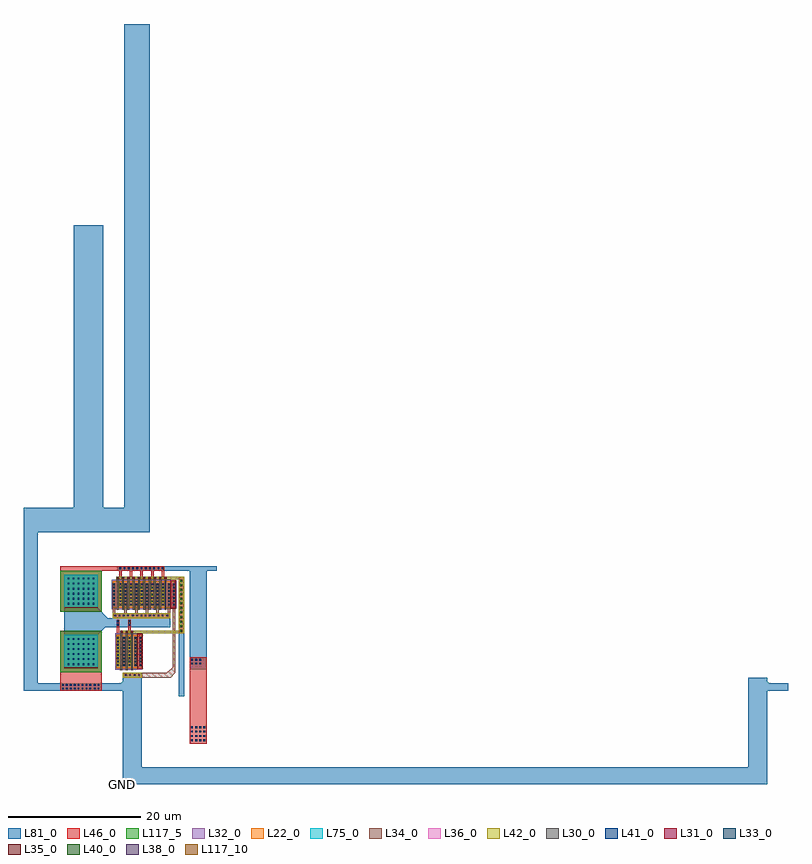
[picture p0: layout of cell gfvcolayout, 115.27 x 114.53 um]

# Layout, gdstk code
import gdstk
lib = gdstk.Library(unit=1e-6, precision=1e-09)
def R(c, l, rs):  # rectangles x0, y0, x1, y1
    for r in rs: c.add(gdstk.rectangle(r[:2], r[2:], *l))
def A(c, l, x, y, w, h, nx, ny, dx, dy):  # array of equal rectangles
    R(c, l, [(x+i*dx, y+j*dy, x+i*dx+w, y+j*dy+h) for i in range(nx) for j in range(ny)])
def P(c, l, *ps):  # polygons
    for p in ps: c.add(gdstk.Polygon(p, *l))
L22_0 = (22, 0)
L30_0 = (30, 0)
L31_0 = (31, 0)
L32_0 = (32, 0)
L33_0 = (33, 0)
L34_0 = (34, 0)
L35_0 = (35, 0)
L36_0 = (36, 0)
L38_0 = (38, 0)
L40_0 = (40, 0)
L41_0 = (41, 0)
L42_0 = (42, 0)
L46_0 = (46, 0)
L75_0 = (75, 0)
L81_0 = (81, 0)
L117_5 = (117, 5)
L117_10 = (117, 10)

nfet = lib.new_cell('nfet')
R(nfet, L22_0, [(-0.42,0,0,4), (0,0,7.86,4), (7.86,0,8.28,4), (8.28,0,8.99,4)])
A(nfet, L30_0, 0.19, -0.3, 0.28, 4.6, 10, 1, 0.8, 0)
A(nfet, L30_0, 0.15, 4.3, 0.36, 0.36, 10, 1, 0.8, 0)
R(nfet, L31_0, [(8.28,-0.17,9.16,4.17)])
R(nfet, L32_0, [(-0.59,-0.24,8.28,4.24)])
A(nfet, L33_0, -0.32, 0.36, 0.22, 0.22, 1, 7, 0, 0.51)
A(nfet, L33_0, 0.62, 0.36, 0.22, 0.22, 9, 7, 0.8, 0.51)
A(nfet, L33_0, 7.96, 0.36, 0.22, 0.22, 1, 7, 0, 0.51)
A(nfet, L33_0, 8.67, 0.36, 0.22, 0.22, 1, 7, 0, 0.51)
A(nfet, L33_0, 0.22, 4.37, 0.22, 0.22, 10, 1, 0.8, 0)
A(nfet, L34_0, 0.54, 0.28, 0.38, 3.44, 9, 1, 0.8, 0)
A(nfet, L34_0, 0.14, 4.29, 0.38, 0.38, 10, 1, 0.8, 0)
R(nfet, L34_0, [(-0.4,0.28,-0.02,3.72), (7.88,0.28,8.26,3.72), (8.59,0.28,8.97,3.72)])

nfet_1 = lib.new_cell('nfet$1')
R(nfet_1, L22_0, [(-0.42,0,0,5), (0,0,2.26,5), (2.26,0,2.68,5), (2.68,0,3.39,5)])
A(nfet_1, L30_0, 0.19, -0.3, 0.28, 5.6, 3, 1, 0.8, 0)
A(nfet_1, L30_0, 0.15, 5.3, 0.36, 0.36, 3, 1, 0.8, 0)
R(nfet_1, L31_0, [(2.68,-0.17,3.56,5.17)])
R(nfet_1, L32_0, [(-0.59,-0.24,2.68,5.24)])
A(nfet_1, L33_0, -0.32, 0.35, 0.22, 0.22, 1, 9, 0, 0.51)
A(nfet_1, L33_0, 0.62, 0.35, 0.22, 0.22, 1, 9, 0, 0.51)
A(nfet_1, L33_0, 1.42, 0.35, 0.22, 0.22, 1, 9, 0, 0.51)
A(nfet_1, L33_0, 2.36, 0.35, 0.22, 0.22, 1, 9, 0, 0.51)
A(nfet_1, L33_0, 3.07, 0.35, 0.22, 0.22, 1, 9, 0, 0.51)
A(nfet_1, L33_0, 0.22, 5.37, 0.22, 0.22, 3, 1, 0.8, 0)
A(nfet_1, L34_0, 0.14, 5.29, 0.38, 0.38, 3, 1, 0.8, 0)
R(nfet_1, L34_0, [(-0.4,0.27,-0.02,4.73), (0.54,0.27,0.92,4.73), (1.34,0.27,1.72,4.73), (2.28,0.27,2.66,4.73), (2.99,0.27,3.37,4.73)])

cap_mim = lib.new_cell('cap_mim')
A(cap_mim, L41_0, 0.47, 0.47, 0.26, 0.26, 6, 6, 0.76, 0.76)
R(cap_mim, L46_0, [(-0.6,-0.6,5.6,5.6)])
R(cap_mim, L75_0, [(0,0,5,5)])
R(cap_mim, L81_0, [(0,0,5,5)])
R(cap_mim, L117_5, [(-0.6,-0.6,5.6,5.6)])
R(cap_mim, L117_10, [(0,0,5,0.1)])

gfvcolayout = lib.new_cell('gfvcolayout')
R(gfvcolayout, L34_0, [(157.49,2.59,159.47,2.97), (156.94,10.69,164.52,11.07)])
P(gfvcolayout, L34_0, [(156.4,4.85),(156.4,6.68),(156.78,6.68),(156.78,5.57),(158.14,5.57),(158.14,6.68),(158.52,6.68),(158.52,5.57),(159.74,5.57),(159.74,6.68),(160.12,6.68),(160.12,5.57),(161.34,5.57),(161.34,6.68),(161.72,6.68),(161.72,5.57),(162.94,5.57),(162.94,6.68),(163.32,6.68),(163.32,5.57),(164.68,5.57),(164.68,6.68),(165.06,6.68),(165.06,4.85)],
  [(160.72,-4.115),(160.72,-3.395),(164.54,-3.395),(165.39,-2.545),(165.39,6.68),(165.77,6.68),(165.77,-3.43),(165.085,-4.115)])
A(gfvcolayout, L35_0, 157.01, -2.37, 0.26, 0.26, 1, 5, 0, 1.02)
A(gfvcolayout, L35_0, 158.75, -2.37, 0.26, 0.26, 1, 5, 0, 1.02)
A(gfvcolayout, L35_0, 157.55, 2.65, 0.26, 0.26, 3, 1, 0.8, 0)
A(gfvcolayout, L35_0, 157.4, 6.74, 0.26, 0.26, 5, 4, 1.6, 1.02)
A(gfvcolayout, L35_0, 157.42, 6.76, 0.22, 0.22, 5, 4, 1.6, 1.02)
R(gfvcolayout, L35_0, [(158.215,-3.865,158.475,-3.605), (158.845,-3.865,159.105,-3.605), (159.555,-3.865,159.815,-3.605), (160.185,-3.865,160.445,-3.605), (156.62,5.1,156.88,5.36), (157.25,5.1,157.51,5.36), (157.92,5.1,158.18,5.36), (158.55,5.1,158.81,5.36), (159.26,5.1,159.52,5.36), (159.89,5.1,160.15,5.36), (160.56,5.1,160.82,5.36), (161.19,5.1,161.45,5.36), (161.825,5.1,162.085,5.36), (162.455,5.1,162.715,5.36), (163.125,5.1,163.385,5.36), (163.755,5.1,164.015,5.36), (164.465,5.1,164.725,5.36), (157,10.75,157.26,11.01), (157,10.75,157.26,11.01), (157.8,10.75,158.06,11.01), (157.8,10.75,158.06,11.01), (158.6,10.75,158.86,11.01), (158.6,10.75,158.86,11.01), (159.4,10.75,159.66,11.01), (159.4,10.75,159.66,11.01), (160.2,10.75,160.46,11.01), (160.2,10.75,160.46,11.01), (161,10.75,161.26,11.01), (161,10.75,161.26,11.01), (161.8,10.75,162.06,11.01), (161.8,10.75,162.06,11.01), (162.6,10.75,162.86,11.01), (162.6,10.75,162.86,11.01), (163.4,10.75,163.66,11.01), (163.4,10.75,163.66,11.01), (164.2,10.75,164.46,11.01), (164.2,10.75,164.46,11.01)])
A(gfvcolayout, L36_0, 158.92, 10.69, 0.42, 0.38, 3, 1, 2.4, 0)
R(gfvcolayout, L36_0, [(157.89,-4.115,160.72,-3.395), (157.89,-4.115,160.72,-3.845), (156.95,-2.43,157.33,2.03), (158.69,-2.43,159.07,2.03), (157.49,2.59,159.47,2.97), (156.4,4.85,165.06,5.57), (157.34,6.68,157.72,10.12), (157.34,6.68,157.72,10.12), (157.34,6.68,157.72,10.12), (158.94,6.68,159.32,10.12), (158.94,6.68,159.32,10.12), (158.94,6.68,159.32,10.12), (160.54,6.68,160.92,10.12), (160.54,6.68,160.92,10.12), (160.54,6.68,160.92,10.12), (162.14,6.68,162.52,10.12), (162.14,6.68,162.52,10.12), (162.14,6.68,162.52,10.12), (163.74,6.68,164.12,10.12), (163.74,6.68,164.12,10.12), (163.74,6.68,164.12,10.12), (156.94,10.69,158.92,11.07), (156.94,10.69,158.92,11.07), (159.34,10.69,161.32,11.07), (159.34,10.69,161.32,11.07), (161.74,10.69,163.72,11.07), (161.74,10.69,163.72,11.07), (164.14,10.69,164.52,11.07), (164.14,10.69,164.52,11.07)])
A(gfvcolayout, L38_0, 157.01, -2.37, 0.26, 0.26, 1, 5, 0, 1.02)
A(gfvcolayout, L38_0, 158.75, -2.37, 0.26, 0.26, 1, 5, 0, 1.02)
A(gfvcolayout, L38_0, 157.4, 6.74, 0.26, 0.26, 5, 4, 1.6, 1.02)
A(gfvcolayout, L38_0, 157.42, 6.76, 0.22, 0.22, 5, 4, 1.6, 1.02)
R(gfvcolayout, L38_0, [(158.215,-3.865,158.475,-3.605), (158.845,-3.865,159.105,-3.605), (159.555,-3.865,159.815,-3.605), (160.185,-3.865,160.445,-3.605), (156.62,5.1,156.88,5.36), (157.25,5.1,157.51,5.36), (157.92,5.1,158.18,5.36), (158.55,5.1,158.81,5.36), (159.26,5.1,159.52,5.36), (159.89,5.1,160.15,5.36), (160.56,5.1,160.82,5.36), (161.19,5.1,161.45,5.36), (161.825,5.1,162.085,5.36), (162.455,5.1,162.715,5.36), (163.125,5.1,163.385,5.36), (163.755,5.1,164.015,5.36), (164.465,5.1,164.725,5.36)])
A(gfvcolayout, L40_0, 157.01, -2.37, 0.26, 0.26, 1, 5, 0, 1.02)
A(gfvcolayout, L40_0, 158.75, -2.37, 0.26, 0.26, 1, 5, 0, 1.02)
A(gfvcolayout, L40_0, 157.4, 6.74, 0.26, 0.26, 5, 4, 1.6, 1.02)
A(gfvcolayout, L40_0, 157.42, 6.76, 0.22, 0.22, 5, 4, 1.6, 1.02)
R(gfvcolayout, L40_0, [(158.215,-3.865,158.475,-3.605), (158.845,-3.865,159.105,-3.605), (159.555,-3.865,159.815,-3.605), (160.185,-3.865,160.445,-3.605), (166.58,2.8,166.84,3.06), (166.58,3.49,166.84,3.75), (166.58,4.155,166.84,4.415), (166.58,4.845,166.84,5.105), (156.62,5.1,156.88,5.36), (157.25,5.1,157.51,5.36), (157.92,5.1,158.18,5.36), (158.55,5.1,158.81,5.36), (159.26,5.1,159.52,5.36), (159.89,5.1,160.15,5.36), (160.56,5.1,160.82,5.36), (161.19,5.1,161.45,5.36), (161.825,5.1,162.085,5.36), (162.455,5.1,162.715,5.36), (163.125,5.1,163.385,5.36), (163.755,5.1,164.015,5.36), (164.465,5.1,164.725,5.36), (166.58,5.595,166.84,5.855), (166.58,6.285,166.84,6.545), (166.58,6.95,166.84,7.21), (166.58,7.64,166.84,7.9), (166.58,8.305,166.84,8.565), (166.58,8.995,166.84,9.255), (166.58,9.66,166.84,9.92), (166.58,10.35,166.84,10.61)])
A(gfvcolayout, L41_0, 160.57, 12.235, 0.26, 0.26, 4, 1, 0.635, 0)
R(gfvcolayout, L41_0, [(168.2,-13.695,168.46,-13.435), (168.2,-13.695,168.46,-13.435), (168.825,-13.695,169.085,-13.435), (168.825,-13.695,169.085,-13.435), (169.425,-13.695,169.685,-13.435), (170.05,-13.695,170.31,-13.435), (168.2,-13.06,168.46,-12.8), (168.2,-13.06,168.46,-12.8), (168.825,-13.06,169.085,-12.8), (168.825,-13.06,169.085,-12.8), (169.425,-13.06,169.685,-12.8), (170.05,-13.06,170.31,-12.8), (168.2,-12.37,168.46,-12.11), (168.2,-12.37,168.46,-12.11), (168.825,-12.37,169.085,-12.11), (168.825,-12.37,169.085,-12.11), (169.425,-12.37,169.685,-12.11), (170.05,-12.37,170.31,-12.11), (168.2,-11.735,168.46,-11.475), (168.2,-11.735,168.46,-11.475), (168.825,-11.735,169.085,-11.475), (168.825,-11.735,169.085,-11.475), (169.425,-11.735,169.685,-11.475), (170.05,-11.735,170.31,-11.475), (148.75,-5.895,149.01,-5.635), (149.325,-5.895,149.585,-5.635), (149.93,-5.895,150.19,-5.635), (150.505,-5.895,150.765,-5.635), (151.1,-5.895,151.36,-5.635), (151.675,-5.895,151.935,-5.635), (152.28,-5.895,152.54,-5.635), (152.855,-5.895,153.115,-5.635), (153.525,-5.895,153.785,-5.635), (154.1,-5.895,154.36,-5.635), (148.75,-5.37,149.01,-5.11), (149.325,-5.37,149.585,-5.11), (149.93,-5.37,150.19,-5.11), (150.505,-5.37,150.765,-5.11), (151.1,-5.37,151.36,-5.11), (151.675,-5.37,151.935,-5.11), (152.28,-5.37,152.54,-5.11), (152.855,-5.37,153.115,-5.11), (153.525,-5.37,153.785,-5.11), (154.1,-5.37,154.36,-5.11), (158.215,-3.865,158.475,-3.605), (158.845,-3.865,159.105,-3.605), (159.555,-3.865,159.815,-3.605), (160.185,-3.865,160.445,-3.605), (168.2,-2.115,168.46,-1.855), (168.2,-2.115,168.46,-1.855), (168.825,-2.115,169.085,-1.855), (168.825,-2.115,169.085,-1.855), (169.425,-2.115,169.685,-1.855), (168.2,-1.555,168.46,-1.295), (168.2,-1.555,168.46,-1.295), (168.825,-1.555,169.085,-1.295), (168.825,-1.555,169.085,-1.295), (169.425,-1.555,169.685,-1.295), (166.58,2.8,166.84,3.06), (166.58,3.49,166.84,3.75), (157.01,3.72,157.27,3.98), (158.755,3.72,159.015,3.98), (166.58,4.155,166.84,4.415), (157.01,4.24,157.27,4.5), (158.755,4.24,159.015,4.5), (166.58,4.845,166.84,5.105), (156.62,5.1,156.88,5.36), (157.25,5.1,157.51,5.36), (157.92,5.1,158.18,5.36), (158.55,5.1,158.81,5.36), (159.26,5.1,159.52,5.36), (159.89,5.1,160.15,5.36), (160.56,5.1,160.82,5.36), (161.19,5.1,161.45,5.36), (161.825,5.1,162.085,5.36), (162.455,5.1,162.715,5.36), (163.125,5.1,163.385,5.36), (163.755,5.1,164.015,5.36), (164.465,5.1,164.725,5.36), (166.58,5.595,166.84,5.855), (166.58,6.285,166.84,6.545), (166.58,6.95,166.84,7.21), (166.58,7.64,166.84,7.9), (166.58,8.305,166.84,8.565), (166.58,8.995,166.84,9.255), (166.58,9.66,166.84,9.92), (166.58,10.35,166.84,10.61), (157.385,12.235,157.645,12.495), (158.02,12.235,158.28,12.495), (158.665,12.235,158.925,12.495), (159.29,12.235,159.55,12.495), (159.925,12.235,160.185,12.495), (163.12,12.235,163.38,12.495), (163.755,12.235,164.015,12.495)])
A(gfvcolayout, L42_0, 157.34, 6.68, 0.38, 3.44, 5, 1, 1.6, 0)
A(gfvcolayout, L42_0, 158.92, 10.69, 0.42, 0.38, 3, 1, 2.4, 0)
R(gfvcolayout, L42_0, [(157.89,-4.115,160.72,-3.395), (156.95,-2.43,157.33,2.03), (158.69,-2.43,159.07,2.03), (157.49,2.59,159.47,2.97), (156.4,4.85,165.06,5.57), (156.94,10.69,158.92,11.07), (156.94,10.69,158.92,11.07), (159.34,10.69,161.32,11.07), (159.34,10.69,161.32,11.07), (161.74,10.69,163.72,11.07), (161.74,10.69,163.72,11.07), (164.14,10.69,164.52,11.07), (164.14,10.69,164.52,11.07)])
P(gfvcolayout, L42_0, [(159.47,2.59),(159.47,2.97),(166.33,2.97),(166.33,10.69),(164.52,10.69),(164.52,11.07),(167.13,11.07),(167.13,2.59)])
A(gfvcolayout, L46_0, 157.34, 6.68, 0.38, 3.44, 5, 1, 1.6, 0)
R(gfvcolayout, L46_0, [(167.975,-14.13,170.52,-1.095), (148.495,-6.135,154.695,-3.3), (157.89,-4.115,160.72,-3.395), (156.95,-2.43,157.33,2.03), (158.69,-2.43,159.07,2.03), (156.95,2.03,157.33,4.565), (158.69,2.03,159.07,4.565), (166.33,2.59,167.13,11.07), (156.4,4.85,165.06,5.57)])
P(gfvcolayout, L46_0, [(157.34,10.12),(157.34,12),(148.49,12),(148.49,12.675),(164.12,12.675),(164.12,10.12),(163.74,10.12),(163.74,12),(162.52,12),(162.52,10.12),(162.14,10.12),(162.14,12),(160.92,12),(160.92,10.12),(160.54,10.12),(160.54,12),(159.32,12),(159.32,10.12),(158.94,10.12),(158.94,12),(157.72,12),(157.72,10.12)])
R(gfvcolayout, L81_0, [(166.33,-6.92,167.13,2.59), (142.935,-6.135,143.385,-4.718), (142.98,-6.135,148.495,-4.965), (143.385,-6.135,145.11,-4.718), (148.495,-6.135,154.695,-4.965), (157.89,-4.115,160.72,-3.395), (167.975,-2.835,170.52,-1.095), (167.975,-1.095,170.52,12.385), (149.09,2.3,154.095,6.4), (166.33,2.59,167.13,11.07), (156.4,4.85,165.06,5.57), (157.04,12,164.12,12.675), (164.12,12,172.075,12.675)])
P(gfvcolayout, L81_0, [(142.935,-4.72),(142.935,21.445),(150.485,21.445),(150.485,64.03),(154.945,64.03),(154.945,21.445),(158.13,21.445),(158.13,94.37),(161.915,94.37),(161.915,17.75),(145.11,17.75),(145.11,-4.72)],
  [(154.095,6.395),(154.09,6.4),(154.095,6.4)],
  [(154.095,2.3),(154.095,6.395),(155.64,4.85),(165.06,4.85),(165.06,3.425),(155.22,3.425)],
  [(157.89,-20.16),(157.89,-6.135),(154.695,-6.135),(154.695,-4.965),(157.6,-4.965),(157.89,-4.675),(157.89,-4.115),(160.72,-4.115),(160.72,-17.67),(252.175,-17.67),(252.175,-4.115),(255.005,-4.115),(255.005,-4.675),(255.295,-4.965),(258.2,-4.965),(258.2,-6.135),(255.005,-6.135),(255.005,-20.16)])
gfvcolayout.add(gdstk.Reference(nfet, (156.8,6.4)))
gfvcolayout.add(gdstk.Reference(nfet_1, (157.35,-2.7)))
gfvcolayout.add(gdstk.Reference(cap_mim, (149.09,6.4)))
gfvcolayout.add(gdstk.Reference(cap_mim, (149.095,-2.7)))
gfvcolayout.add(gdstk.Label('GND', (157.89,-20.16), layer=81, texttype=0))

lib.write_gds('gfvcolayout.gds')
